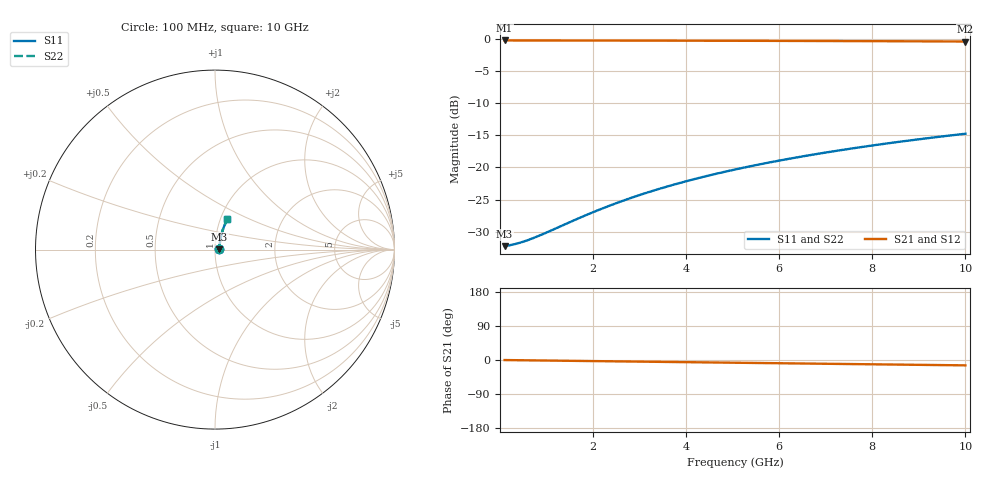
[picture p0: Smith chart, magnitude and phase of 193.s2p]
# Hz S RI R 50.00
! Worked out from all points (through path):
!   100 points, 100 MHz to 10 GHz, reference 50 ohm
!   highest |S21| = -0.21 dB at 100 MHz (marker M1); lowest = -0.4 dB at 10 GHz (marker M2)
!   group delay of S21, straight-line fit = 3.93 ps
!   lowest |S11| = -32.3 dB at 100 MHz (marker M3), VSWR 1.05, Z = 52.5 + j0.188 ohm
!   |S11| at or under -10 dB: start of sweep to end of sweep
!   |S22| runs from -32.3 to -14.8 dB; largest |S21 - S12| = 0
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1e8  0.0243 0.00179  0.9757 -0.00243  0.9757 -0.00243  0.0243 0.00179
3e8  0.0246 0.00536  0.9754 -0.0073  0.9754 -0.0073  0.0246 0.00536
4e8  0.0247 0.00715  0.9753 -0.00973  0.9753 -0.00973  0.0247 0.00715
5e8  0.0248 0.00893  0.9752 -0.0122  0.9752 -0.0122  0.0248 0.00893
7e8  0.0251 0.0125  0.9749 -0.017  0.9749 -0.017  0.0251 0.0125
1e9  0.0254 0.0178  0.9745 -0.0243  0.9745 -0.0243  0.0254 0.0178
1.8e9  0.0267 0.0321  0.9732 -0.0437  0.9732 -0.0437  0.0267 0.0321
2.2e9  0.0275 0.0392  0.9723 -0.0533  0.9723 -0.0533  0.0275 0.0392
2.6e9  0.0285 0.0462  0.9713 -0.063  0.9713 -0.063  0.0285 0.0462
3e9  0.0296 0.0533  0.9702 -0.0726  0.9702 -0.0726  0.0296 0.0533
3.4e9  0.0308 0.0603  0.969 -0.0822  0.969 -0.0822  0.0308 0.0603
3.8e9  0.0321 0.0673  0.9675 -0.0918  0.9675 -0.0918  0.0321 0.0673
4.2e9  0.0336 0.0742  0.966 -0.1013  0.966 -0.1013  0.0336 0.0742
4.6e9  0.0352 0.0811  0.9643 -0.1108  0.9643 -0.1108  0.0352 0.0811
5.1e9  0.0374 0.0897  0.962 -0.1226  0.962 -0.1226  0.0374 0.0897
5.5e9  0.0393 0.0965  0.96 -0.132  0.96 -0.132  0.0393 0.0965
5.9e9  0.0413 0.1033  0.9579 -0.1414  0.9579 -0.1414  0.0413 0.1033
6.7e9  0.0458 0.1167  0.9532 -0.16  0.9532 -0.16  0.0458 0.1167
7.5e9  0.0508 0.1298  0.948 -0.1783  0.948 -0.1783  0.0508 0.1298
8.4e9  0.0569 0.1444  0.9415 -0.1987  0.9415 -0.1987  0.0569 0.1444
9.2e9  0.0629 0.157  0.9352 -0.2165  0.9352 -0.2165  0.0629 0.157
1e10  0.0694 0.1693  0.9284 -0.2341  0.9284 -0.2341  0.0694 0.1693
